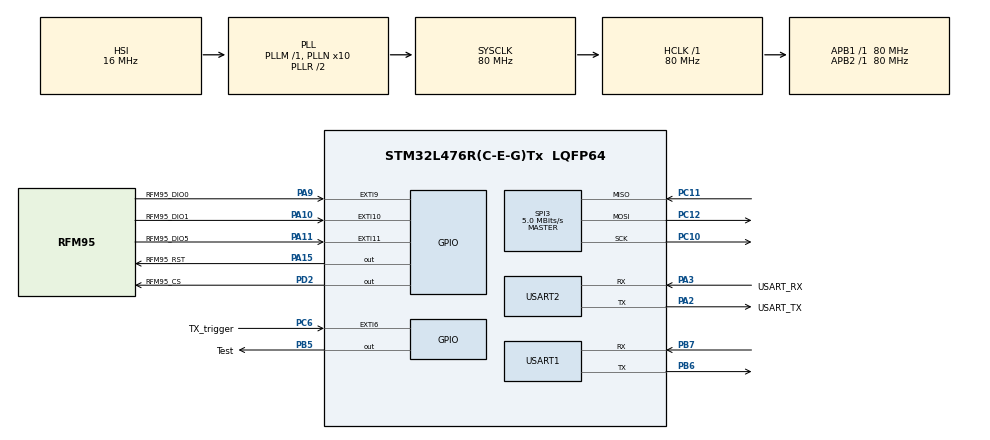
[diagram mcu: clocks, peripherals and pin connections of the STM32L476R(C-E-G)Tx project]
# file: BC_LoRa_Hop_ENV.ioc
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Mcu.Family=STM32L4
Mcu.Name=STM32L476R(C-E-G)Tx
Mcu.Package=LQFP64
NVIC.EXTI15_10_IRQn=true\:0\:0\:false\:false\:true\:true\:true\:true
NVIC.EXTI9_5_IRQn=true\:0\:0\:false\:false\:true\:true\:true\:true
NVIC.LPTIM1_IRQn=true\:0\:0\:false\:false\:true\:true\:true\:true
NVIC.PriorityGroup=NVIC_PRIORITYGROUP_4
NVIC.RTC_WKUP_IRQn=true\:0\:0\:false\:false\:true\:true\:true\:true
PA10.GPIO_Label=RFM95_DIO1
PA10.Signal=GPXTI10
PA11.GPIO_Label=RFM95_DIO5
PA11.Signal=GPXTI11
PA13\ (JTMS-SWDIO).GPIO_Label=TMS
PA13\ (JTMS-SWDIO).Mode=Serial_Wire
PA13\ (JTMS-SWDIO).Signal=SYS_JTMS-SWDIO
PA14\ (JTCK-SWCLK).GPIO_Label=TCK
PA14\ (JTCK-SWCLK).Mode=Serial_Wire
PA14\ (JTCK-SWCLK).Signal=SYS_JTCK-SWCLK
PA15\ (JTDI).GPIO_Label=RFM95_RST
PA15\ (JTDI).GPIO_ModeDefaultOutputPP=GPIO_MODE_OUTPUT_OD
PA15\ (JTDI).GPIO_PuPd=GPIO_NOPULL
PA15\ (JTDI).PinState=GPIO_PIN_SET
PA15\ (JTDI).Signal=GPIO_Output
PA2.GPIO_Label=USART_TX
PA2.GPIO_Mode=GPIO_MODE_AF_PP
PA2.GPIO_PuPd=GPIO_NOPULL
PA2.GPIO_Speed=GPIO_SPEED_FREQ_VERY_HIGH
PA2.Mode=Asynchronous
PA2.Signal=USART2_TX
PA3.GPIO_Label=USART_RX
PA3.GPIO_Mode=GPIO_MODE_AF_PP
PA3.GPIO_PuPd=GPIO_PULLDOWN
PA3.GPIO_Speed=GPIO_SPEED_FREQ_VERY_HIGH
PA3.Mode=Asynchronous
PA3.Signal=USART2_RX
PA9.GPIO_Label=RFM95_DIO0
PA9.Signal=GPXTI9
PB3\ (JTDO-TRACESWO).GPIO_Label=SWO
PB3\ (JTDO-TRACESWO).Signal=SYS_JTDO-SWO
PB5.GPIO_Label=Test
PB5.Signal=GPIO_Output
PB6.Mode=Asynchronous
PB6.Signal=USART1_TX
PB7.GPIO_PuPd=GPIO_PULLDOWN
PB7.Mode=Asynchronous
PB7.Signal=USART1_RX
PC10.Mode=Full_Duplex_Master
PC10.Signal=SPI3_SCK
PC11.GPIO_PuPd=GPIO_PULLUP
PC11.Mode=Full_Duplex_Master
PC11.Signal=SPI3_MISO
PC12.Mode=Full_Duplex_Master
PC12.Signal=SPI3_MOSI
PC14-OSC32_IN\ (PC14).Mode=LSE-External-Oscillator
PC14-OSC32_IN\ (PC14).Signal=RCC_OSC32_IN
PC15-OSC32_OUT\ (PC15).Mode=LSE-External-Oscillator
PC15-OSC32_OUT\ (PC15).Signal=RCC_OSC32_OUT
PC6.GPIO_Label=TX_trigger
PC6.GPIO_PuPd=GPIO_PULLDOWN
PC6.Signal=GPXTI6
PD2.GPIO_Label=RFM95_CS
PD2.GPIO_ModeDefaultOutputPP=GPIO_MODE_OUTPUT_PP
PD2.GPIO_PuPd=GPIO_PULLUP
PD2.GPIO_Speed=GPIO_SPEED_FREQ_MEDIUM
PD2.PinState=GPIO_PIN_SET
PD2.Signal=GPIO_Output
ProjectManager.HeapSize=0x200
ProjectManager.StackSize=0x400
ProjectManager.TargetToolchain=STM32CubeIDE
RCC.ADCFreq_Value=64000000
RCC.AHBFreq_Value=80000000
RCC.APB1Freq_Value=80000000
RCC.APB1TimFreq_Value=80000000
RCC.APB2Freq_Value=80000000
RCC.APB2TimFreq_Value=80000000
RCC.CK48CLockSelection=RCC_USBCLKSOURCE_PLL
RCC.CortexFreq_Value=80000000
RCC.HCLKFreq_Value=80000000
RCC.HSE_VALUE=8000000
RCC.HSI_VALUE=16000000
RCC.LPTIM1CLockSelection=RCC_LPTIM1CLKSOURCE_LSE
RCC.MSI_VALUE=4000000
RCC.PLLN=10
RCC.PLLQ=RCC_PLLQ_DIV8
RCC.PLLSourceVirtual=RCC_PLLSOURCE_HSI
RCC.PREFETCH_ENABLE=1
RCC.RTCClockSelection=RCC_RTCCLKSOURCE_LSE
RCC.SYSCLKFreq_VALUE=80000000
RCC.SYSCLKSource=RCC_SYSCLKSOURCE_PLLCLK
RCC.USBFreq_Value=20000000
RCC.VCOOutputFreq_Value=160000000
SPI3.BaudRatePrescaler=SPI_BAUDRATEPRESCALER_16
SPI3.CalculateBaudRate=5.0 MBits/s
SPI3.DataSize=SPI_DATASIZE_8BIT
SPI3.Direction=SPI_DIRECTION_2LINES
SPI3.Mode=SPI_MODE_MASTER
SPI3.VirtualType=VM_MASTER
USART1.VirtualMode-Asynchronous=VM_ASYNC
USART2.VirtualMode-Asynchronous=VM_ASYNC
VP_LPTIM1_VS_LPTIM_counterModeInternalClock.Mode=Counts__internal_clock_event_00
VP_RNG_VS_RNG.Mode=RNG_Activate
VP_RTC_VS_RTC_Activate.Mode=RTC_Enabled
VP_RTC_VS_RTC_Calendar.Mode=RTC_Calendar
VP_RTC_VS_RTC_WakeUp_intern.Mode=WakeUp
board=NUCLEO-L476RG

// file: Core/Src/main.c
/* USER CODE BEGIN Header */
/**
  ******************************************************************************
  * @file           : main.c
  * @brief          : Main program body
  ******************************************************************************
  * @attention
  *
  * Copyright (c) 2025 STMicroelectronics.
  * All rights reserved.
  *
  * This software is licensed under terms that can be found in the LICENSE file
  * in the root directory of this software component.
  * If no LICENSE file comes with this software, it is provided AS-IS.
  *
  ******************************************************************************
  */
/* USER CODE END Header */
#include "main.h"

/* USER CODE BEGIN Includes */
#include "stdio.h"
#include "string.h"
#include "lora.h"
/* USER CODE END Includes */

/* USER CODE BEGIN PTD */
// rfm95 handler
rfm95_handle_t rfm95_handle = {0};

/* Test TX BUFF */
uint8_t  tx_buff[LORA_PAYLOAD_MAX_SIZE];
uint8_t  tx_buff_len = 0;
uint16_t tx_pkt_id = 0;

/*
 * DECIDE ENV TEST NODE ID
 */
uint8_t this_node_id = 1;

// system handler
Sys_handler h_sys = {
    .evt_flags = SYS_EVT_NO_PENDING,
    .state     = SYS_RDY
};

/* USER CODE END PTD */

LPTIM_HandleTypeDef hlptim1;

RNG_HandleTypeDef hrng;

RTC_HandleTypeDef hrtc;

SPI_HandleTypeDef hspi3;

UART_HandleTypeDef huart1;
UART_HandleTypeDef huart2;

/* USER CODE BEGIN PV */
// ------------- LPTIM ----------------
volatile uint32_t lptim_tick_msb = 1;
uint32_t tx_evt_time = 0;

// --------- Variables used for simulation ---------
volatile bool tx_evt = false;
volatile bool tx_alarm_evt = false;

/* USER CODE END PV */

void SystemClock_Config(void);
static void MX_GPIO_Init(void);
static void MX_USART2_UART_Init(void);
static void MX_RTC_Init(void);
static void MX_SPI3_Init(void);
static void MX_LPTIM1_Init(void);
static void MX_RNG_Init(void);
static void MX_USART1_UART_Init(void);
/* USER CODE BEGIN PFP */
int _write(int file, char *ptr, int len);
void debug_pin_set();
void debug_pin_rst();

static bool     init_rfm();
static uint32_t get_precision_tick();
static void 		precision_sleep_until(uint32_t target_ticks);
static uint8_t	get_battery_level();
static void     rfm95_after_interrupts_configured();

uint8_t get_random_number(uint32_t *random_number, uint16_t timeout);
static uint16_t random_wait(uint16_t min, uint16_t max);
static void schedule_tx_evt(uint16_t min, uint16_t max);

void MySystemClock_Config(void);
void enterStopMode();

void build_pkt(uint16_t sync, uint8_t mask, uint8_t nodeID, uint16_t pktID, uint8_t* sensors, uint8_t sens_len,
		           int16_t rssi, uint8_t* bc_seq, uint8_t bc_seq_len, uint8_t* t_buff, uint8_t* t_buff_len);

/* USER CODE END PFP */

int main(void)
{

  /* MCU Configuration--------------------------------------------------------*/

  /* Reset of all peripherals, Initializes the Flash interface and the Systick. */
  HAL_Init();

  /* Configure the system clock */
  SystemClock_Config();

  /* Initialize all configured peripherals */
  MX_GPIO_Init();
  MX_USART2_UART_Init();
  MX_RTC_Init();
  MX_SPI3_Init();
  MX_LPTIM1_Init();
  MX_RNG_Init();
  MX_USART1_UART_Init();
  /* USER CODE BEGIN 2 */

  printf("start\r\n");

  // init RF in RX mode
  if (!init_rfm()) printf("Error during RFM initialization\r\n");

  schedule_tx_evt(29000, 31000);

  /* USER CODE END 2 */

  /* Infinite loop */
  /* USER CODE BEGIN WHILE */
  while (1){

  	/* STOP mode atomic block */
		HAL_SuspendTick();
		__disable_irq();

		if (!tx_alarm_evt && !tx_evt) {
			enterStopMode();
		}

		HAL_ResumeTick();
		__enable_irq();

    /* USER CODE END WHILE */

    /* USER CODE BEGIN 3 */

		/* ALARM EVENT */
  	if (tx_alarm_evt == true){
  		tx_alarm_evt = false;

  		uint8_t dummy_sens_payload[4] = {0xDE,0xAD,0xBE,0xEF};
			uint8_t dummy_bc_seq = 0;

			/* Prepare TX-ALARM buff here */
			uint8_t mask = (1 << ALARM_BIT_POS) | (0 << ACK_BIT_POS) | (0 << RETX_BIT_POS);
			build_pkt(SYNC_WORD_ENV, mask, this_node_id, tx_pkt_id, dummy_sens_payload, 4, 0, &dummy_bc_seq, 0, tx_buff, &tx_buff_len);
			tx_pkt_id++;

			/* TX payload here */
			if (!rfm95_send(&rfm95_handle, tx_buff, tx_buff_len)) printf("TX error");

  	} else if (tx_evt == true) { /* NORMAL TX EVENT */
  		tx_evt = false;

  		// deactivate timer here -> It will be recalculated after this TX
  		HAL_RTCEx_DeactivateWakeUpTimer(&hrtc);

  		uint8_t dummy_sens_payload[4] = {0xDE,0xAD,0xBE,0xEF};
  		uint8_t dummy_bc_seq = 0;

  		/* Prepare TX buff here */
  		build_pkt(SYNC_WORD_ENV, 0, this_node_id, tx_pkt_id, dummy_sens_payload, 4, 0, &dummy_bc_seq, 0, tx_buff, &tx_buff_len);
  		tx_pkt_id++;

  		/* TX payload here */
			if (!rfm95_send(&rfm95_handle, tx_buff, tx_buff_len)) printf("TX error");
			schedule_tx_evt(29000, 31000);

  	}

  } // End of While superloop
  /* USER CODE END 3 */
}

void SystemClock_Config(void)
{
  RCC_OscInitTypeDef RCC_OscInitStruct = {0};
  RCC_ClkInitTypeDef RCC_ClkInitStruct = {0};

  /** Configure the main internal regulator output voltage
  */
  if (HAL_PWREx_ControlVoltageScaling(PWR_REGULATOR_VOLTAGE_SCALE1) != HAL_OK)
  {
    Error_Handler();
  }

  /** Configure LSE Drive Capability
  */
  HAL_PWR_EnableBkUpAccess();
  __HAL_RCC_LSEDRIVE_CONFIG(RCC_LSEDRIVE_LOW);

  /** Initializes the RCC Oscillators according to the specified parameters
  * in the RCC_OscInitTypeDef structure.
  */
  RCC_OscInitStruct.OscillatorType = RCC_OSCILLATORTYPE_HSI|RCC_OSCILLATORTYPE_LSE;
  RCC_OscInitStruct.LSEState = RCC_LSE_ON;
  RCC_OscInitStruct.HSIState = RCC_HSI_ON;
  RCC_OscInitStruct.HSICalibrationValue = RCC_HSICALIBRATION_DEFAULT;
  RCC_OscInitStruct.PLL.PLLState = RCC_PLL_ON;
  RCC_OscInitStruct.PLL.PLLSource = RCC_PLLSOURCE_HSI;
  RCC_OscInitStruct.PLL.PLLM = 1;
  RCC_OscInitStruct.PLL.PLLN = 10;
  RCC_OscInitStruct.PLL.PLLP = RCC_PLLP_DIV7;
  RCC_OscInitStruct.PLL.PLLQ = RCC_PLLQ_DIV8;
  RCC_OscInitStruct.PLL.PLLR = RCC_PLLR_DIV2;
  if (HAL_RCC_OscConfig(&RCC_OscInitStruct) != HAL_OK)
  {
    Error_Handler();
  }

  /** Initializes the CPU, AHB and APB buses clocks
  */
  RCC_ClkInitStruct.ClockType = RCC_CLOCKTYPE_HCLK|RCC_CLOCKTYPE_SYSCLK
                              |RCC_CLOCKTYPE_PCLK1|RCC_CLOCKTYPE_PCLK2;
  RCC_ClkInitStruct.SYSCLKSource = RCC_SYSCLKSOURCE_PLLCLK;
  RCC_ClkInitStruct.AHBCLKDivider = RCC_SYSCLK_DIV1;
  RCC_ClkInitStruct.APB1CLKDivider = RCC_HCLK_DIV1;
  RCC_ClkInitStruct.APB2CLKDivider = RCC_HCLK_DIV1;

  if (HAL_RCC_ClockConfig(&RCC_ClkInitStruct, FLASH_LATENCY_4) != HAL_OK)
  {
    Error_Handler();
  }
}

static void MX_LPTIM1_Init(void)
{

  hlptim1.Instance = LPTIM1;
  hlptim1.Init.Clock.Source = LPTIM_CLOCKSOURCE_APBCLOCK_LPOSC;
  hlptim1.Init.Clock.Prescaler = LPTIM_PRESCALER_DIV1;
  hlptim1.Init.Trigger.Source = LPTIM_TRIGSOURCE_SOFTWARE;
  hlptim1.Init.OutputPolarity = LPTIM_OUTPUTPOLARITY_HIGH;
  hlptim1.Init.UpdateMode = LPTIM_UPDATE_IMMEDIATE;
  hlptim1.Init.CounterSource = LPTIM_COUNTERSOURCE_INTERNAL;
  hlptim1.Init.Input1Source = LPTIM_INPUT1SOURCE_GPIO;
  hlptim1.Init.Input2Source = LPTIM_INPUT2SOURCE_GPIO;
  if (HAL_LPTIM_Init(&hlptim1) != HAL_OK)
  {
    Error_Handler();
  }

}

static void MX_RNG_Init(void)
{

  hrng.Instance = RNG;
  if (HAL_RNG_Init(&hrng) != HAL_OK)
  {
    Error_Handler();
  }

}

static void MX_RTC_Init(void)
{

  RTC_TimeTypeDef sTime = {0};
  RTC_DateTypeDef sDate = {0};

  /** Initialize RTC Only
  */
  hrtc.Instance = RTC;
  hrtc.Init.HourFormat = RTC_HOURFORMAT_24;
  hrtc.Init.AsynchPrediv = 127;
  hrtc.Init.SynchPrediv = 255;
  hrtc.Init.OutPut = RTC_OUTPUT_DISABLE;
  hrtc.Init.OutPutRemap = RTC_OUTPUT_REMAP_NONE;
  hrtc.Init.OutPutPolarity = RTC_OUTPUT_POLARITY_HIGH;
  hrtc.Init.OutPutType = RTC_OUTPUT_TYPE_OPENDRAIN;
  if (HAL_RTC_Init(&hrtc) != HAL_OK)
  {
    Error_Handler();
  }

  /** Initialize RTC and set the Time and Date
  */
  sTime.Hours = 0x0;
  sTime.Minutes = 0x0;
  sTime.Seconds = 0x0;
  sTime.DayLightSaving = RTC_DAYLIGHTSAVING_NONE;
  sTime.StoreOperation = RTC_STOREOPERATION_RESET;
  if (HAL_RTC_SetTime(&hrtc, &sTime, RTC_FORMAT_BCD) != HAL_OK)
  {
    Error_Handler();
  }
  sDate.WeekDay = RTC_WEEKDAY_MONDAY;
  sDate.Month = RTC_MONTH_JANUARY;
  sDate.Date = 0x1;
  sDate.Year = 0x0;

  if (HAL_RTC_SetDate(&hrtc, &sDate, RTC_FORMAT_BCD) != HAL_OK)
  {
    Error_Handler();
  }
  /* USER CODE BEGIN RTC_Init 2 */

  // make sure RTC wkup is not running:
  HAL_RTCEx_DeactivateWakeUpTimer(&hrtc);

  /* USER CODE END RTC_Init 2 */

}

static void MX_SPI3_Init(void)
{

  /* SPI3 parameter configuration*/
  hspi3.Instance = SPI3;
  hspi3.Init.Mode = SPI_MODE_MASTER;
  hspi3.Init.Direction = SPI_DIRECTION_2LINES;
  hspi3.Init.DataSize = SPI_DATASIZE_8BIT;
  hspi3.Init.CLKPolarity = SPI_POLARITY_LOW;
  hspi3.Init.CLKPhase = SPI_PHASE_1EDGE;
  hspi3.Init.NSS = SPI_NSS_SOFT;
  hspi3.Init.BaudRatePrescaler = SPI_BAUDRATEPRESCALER_16;
  hspi3.Init.FirstBit = SPI_FIRSTBIT_MSB;
  hspi3.Init.TIMode = SPI_TIMODE_DISABLE;
  hspi3.Init.CRCCalculation = SPI_CRCCALCULATION_DISABLE;
  hspi3.Init.CRCPolynomial = 7;
  hspi3.Init.CRCLength = SPI_CRC_LENGTH_DATASIZE;
  hspi3.Init.NSSPMode = SPI_NSS_PULSE_ENABLE;
  if (HAL_SPI_Init(&hspi3) != HAL_OK)
  {
    Error_Handler();
  }
  /* USER CODE BEGIN SPI3_Init 2 */
  /*
   * This dummy sequence sets clock LOW when idle, MOSI and MISO to a definite state (either HIGH or LOW)
   */
   uint8_t dummy = 0xFF;
   HAL_SPI_Transmit(&hspi3, &dummy, 1, 10);

  /* USER CODE END SPI3_Init 2 */

}

static void MX_USART1_UART_Init(void)
{

  huart1.Instance = USART1;
  huart1.Init.BaudRate = 115200;
  huart1.Init.WordLength = UART_WORDLENGTH_8B;
  huart1.Init.StopBits = UART_STOPBITS_1;
  huart1.Init.Parity = UART_PARITY_NONE;
  huart1.Init.Mode = UART_MODE_TX_RX;
  huart1.Init.HwFlowCtl = UART_HWCONTROL_NONE;
  huart1.Init.OverSampling = UART_OVERSAMPLING_16;
  huart1.Init.OneBitSampling = UART_ONE_BIT_SAMPLE_DISABLE;
  huart1.AdvancedInit.AdvFeatureInit = UART_ADVFEATURE_NO_INIT;
  if (HAL_UART_Init(&huart1) != HAL_OK)
  {
    Error_Handler();
  }

}

static void MX_USART2_UART_Init(void)
{

  huart2.Instance = USART2;
  huart2.Init.BaudRate = 115200;
  huart2.Init.WordLength = UART_WORDLENGTH_8B;
  huart2.Init.StopBits = UART_STOPBITS_1;
  huart2.Init.Parity = UART_PARITY_NONE;
  huart2.Init.Mode = UART_MODE_TX_RX;
  huart2.Init.HwFlowCtl = UART_HWCONTROL_NONE;
  huart2.Init.OverSampling = UART_OVERSAMPLING_16;
  huart2.Init.OneBitSampling = UART_ONE_BIT_SAMPLE_DISABLE;
  huart2.AdvancedInit.AdvFeatureInit = UART_ADVFEATURE_NO_INIT;
  if (HAL_UART_Init(&huart2) != HAL_OK)
  {
    Error_Handler();
  }

}

static void MX_GPIO_Init(void)
{
  GPIO_InitTypeDef GPIO_InitStruct = {0};

  /* GPIO Ports Clock Enable */
  __HAL_RCC_GPIOC_CLK_ENABLE();
  __HAL_RCC_GPIOH_CLK_ENABLE();
  __HAL_RCC_GPIOA_CLK_ENABLE();
  __HAL_RCC_GPIOB_CLK_ENABLE();
  __HAL_RCC_GPIOD_CLK_ENABLE();

  /*Configure GPIO pin Output Level */
  HAL_GPIO_WritePin(RFM95_RST_GPIO_Port, RFM95_RST_Pin, GPIO_PIN_SET);

  /*Configure GPIO pin Output Level */
  HAL_GPIO_WritePin(RFM95_CS_GPIO_Port, RFM95_CS_Pin, GPIO_PIN_SET);

  /*Configure GPIO pin Output Level */
  HAL_GPIO_WritePin(Test_GPIO_Port, Test_Pin, GPIO_PIN_RESET);

  /*Configure GPIO pins : PC13 PC0 PC1 PC2
                           PC3 PC4 PC5 PC7
                           PC8 PC9 */
  GPIO_InitStruct.Pin = GPIO_PIN_13|GPIO_PIN_0|GPIO_PIN_1|GPIO_PIN_2
                          |GPIO_PIN_3|GPIO_PIN_4|GPIO_PIN_5|GPIO_PIN_7
                          |GPIO_PIN_8|GPIO_PIN_9;
  GPIO_InitStruct.Mode = GPIO_MODE_ANALOG;
  GPIO_InitStruct.Pull = GPIO_NOPULL;
  HAL_GPIO_Init(GPIOC, &GPIO_InitStruct);

  /*Configure GPIO pins : PH0 PH1 */
  GPIO_InitStruct.Pin = GPIO_PIN_0|GPIO_PIN_1;
  GPIO_InitStruct.Mode = GPIO_MODE_ANALOG;
  GPIO_InitStruct.Pull = GPIO_NOPULL;
  HAL_GPIO_Init(GPIOH, &GPIO_InitStruct);

  /*Configure GPIO pins : PA0 PA1 PA4 PA5
                           PA6 PA7 PA8 PA12 */
  GPIO_InitStruct.Pin = GPIO_PIN_0|GPIO_PIN_1|GPIO_PIN_4|GPIO_PIN_5
                          |GPIO_PIN_6|GPIO_PIN_7|GPIO_PIN_8|GPIO_PIN_12;
  GPIO_InitStruct.Mode = GPIO_MODE_ANALOG;
  GPIO_InitStruct.Pull = GPIO_NOPULL;
  HAL_GPIO_Init(GPIOA, &GPIO_InitStruct);

  /*Configure GPIO pins : PB0 PB1 PB2 PB10
                           PB11 PB12 PB13 PB14
                           PB15 PB4 PB8 PB9 */
  GPIO_InitStruct.Pin = GPIO_PIN_0|GPIO_PIN_1|GPIO_PIN_2|GPIO_PIN_10
                          |GPIO_PIN_11|GPIO_PIN_12|GPIO_PIN_13|GPIO_PIN_14
                          |GPIO_PIN_15|GPIO_PIN_4|GPIO_PIN_8|GPIO_PIN_9;
  GPIO_InitStruct.Mode = GPIO_MODE_ANALOG;
  GPIO_InitStruct.Pull = GPIO_NOPULL;
  HAL_GPIO_Init(GPIOB, &GPIO_InitStruct);

  /*Configure GPIO pin : TX_trigger_Pin */
  GPIO_InitStruct.Pin = TX_trigger_Pin;
  GPIO_InitStruct.Mode = GPIO_MODE_IT_RISING;
  GPIO_InitStruct.Pull = GPIO_PULLDOWN;
  HAL_GPIO_Init(TX_trigger_GPIO_Port, &GPIO_InitStruct);

  /*Configure GPIO pins : RFM95_DIO0_Pin RFM95_DIO1_Pin RFM95_DIO5_Pin */
  GPIO_InitStruct.Pin = RFM95_DIO0_Pin|RFM95_DIO1_Pin|RFM95_DIO5_Pin;
  GPIO_InitStruct.Mode = GPIO_MODE_IT_RISING;
  GPIO_InitStruct.Pull = GPIO_NOPULL;
  HAL_GPIO_Init(GPIOA, &GPIO_InitStruct);

  /*Configure GPIO pin : RFM95_RST_Pin */
  GPIO_InitStruct.Pin = RFM95_RST_Pin;
  GPIO_InitStruct.Mode = GPIO_MODE_OUTPUT_OD;
  GPIO_InitStruct.Pull = GPIO_NOPULL;
  GPIO_InitStruct.Speed = GPIO_SPEED_FREQ_LOW;
  HAL_GPIO_Init(RFM95_RST_GPIO_Port, &GPIO_InitStruct);

  /*Configure GPIO pin : RFM95_CS_Pin */
  GPIO_InitStruct.Pin = RFM95_CS_Pin;
  GPIO_InitStruct.Mode = GPIO_MODE_OUTPUT_PP;
  GPIO_InitStruct.Pull = GPIO_PULLUP;
  GPIO_InitStruct.Speed = GPIO_SPEED_FREQ_MEDIUM;
  HAL_GPIO_Init(RFM95_CS_GPIO_Port, &GPIO_InitStruct);

  /*Configure GPIO pin : Test_Pin */
  GPIO_InitStruct.Pin = Test_Pin;
  GPIO_InitStruct.Mode = GPIO_MODE_OUTPUT_PP;
  GPIO_InitStruct.Pull = GPIO_NOPULL;
  GPIO_InitStruct.Speed = GPIO_SPEED_FREQ_LOW;
  HAL_GPIO_Init(Test_GPIO_Port, &GPIO_InitStruct);

  /* EXTI interrupt init*/
  HAL_NVIC_SetPriority(EXTI9_5_IRQn, 0, 0);
  HAL_NVIC_EnableIRQ(EXTI9_5_IRQn);

//  HAL_NVIC_SetPriority(EXTI15_10_IRQn, 0, 0);
//  HAL_NVIC_EnableIRQ(EXTI15_10_IRQn);

}

/* USER CODE BEGIN 4 */

// -------------- RFM95 user defined functions -------------------

/*
 *
 */
bool init_rfm(){

  // Start lptim timer
  HAL_LPTIM_Counter_Start_IT(&hlptim1, 0xFFFF);

  // config RFM95
  rfm95_handle.rfm_timer  = &hlptim1;
  rfm95_handle.spi_handle = &hspi3;
  rfm95_handle.nrst_port  = RFM95_RST_GPIO_Port;
  rfm95_handle.nrst_pin   = RFM95_RST_Pin;
  rfm95_handle.nss_port   = RFM95_CS_GPIO_Port;
  rfm95_handle.nss_pin    = RFM95_CS_Pin;

  rfm95_handle.precision_tick_frequency = LSE_CLK;
  rfm95_handle.precision_tick_drift_ns_per_s = 20000;
  rfm95_handle.get_precision_tick = get_precision_tick;
  rfm95_handle.precision_sleep_until = precision_sleep_until;
  rfm95_handle.on_after_interrupts_configured = rfm95_after_interrupts_configured;
  //rfm95_handle.random_int = random_int;
  rfm95_handle.get_battery_level = get_battery_level;

  // Modify parameters here:
  rfm95_set_power(&rfm95_handle, LORA_TX_POWER); // power 2 dBm - 17 dBm
  rfm95_set_frequency(&rfm95_handle, LORA_CH_FREQ);
  rfm95_set_BW(&rfm95_handle, LORA_BW);
  rfm95_set_CR(&rfm95_handle, LORA_CR);
  rfm95_set_SF(&rfm95_handle, LORA_SF);
  rfm95_set_syncWord(&rfm95_handle, LORA_SYNC_WORD);

  // initialize RFM95
  if(!rfm95_init(&rfm95_handle)) return false;

  return true;
}

/*
 * return precise timing based on internal LPTIM module
 */
static uint32_t get_precision_tick(){
	__disable_irq();
	uint32_t precision_tick = lptim_tick_msb | HAL_LPTIM_ReadCounter(&hlptim1);
	__enable_irq();
	return precision_tick;
}

/*
 * Allows to set the MCU into STOP2 mode with accurate wkup timer
 */
static void precision_sleep_until(uint32_t target_ticks){
	while(1){
		uint32_t curr_tick = get_precision_tick();

		// exit condition:
		if(target_ticks < curr_tick) break;

		uint32_t sleep_ticks = target_ticks - curr_tick;

		// avoid short sleep intervals:
		if(sleep_ticks < 10) break;
		else {
			// overall CMP value - some margin (needed to reset clock configurations after stop mode2)
			uint32_t compare_tick = (curr_tick & 0xFFFF) + sleep_ticks - 10;

			if (compare_tick >= 0xFFFF){ // ARR will awake MCU before compare
				HAL_SuspendTick();
				enterStopMode();
			} else { // otherwise CMP keeps MCU sleep all time
				__HAL_LPTIM_CLEAR_FLAG(&hlptim1, LPTIM_FLAG_CMPOK);
				__HAL_LPTIM_COMPARE_SET(&hlptim1, compare_tick);            // set CMP limit

				while (!__HAL_LPTIM_GET_FLAG(&hlptim1, LPTIM_FLAG_CMPOK));  // wait for effective change

				__HAL_LPTIM_CLEAR_FLAG(&hlptim1, LPTIM_FLAG_CMPM);          // clear CMP interrupt flag
				__HAL_LPTIM_ENABLE_IT(&hlptim1, LPTIM_IT_CMPM);             // enable CMP interrupt

				HAL_SuspendTick();
				enterStopMode();

				__HAL_LPTIM_DISABLE_IT(&hlptim1, LPTIM_IT_CMPM);            // disable CMP interrupt
			}
		}
	}

	while(get_precision_tick() < target_ticks);                       // wait residue time here ( < 10 ticks)
}

static uint8_t get_battery_level(){
	return 0;
}

/*
 * This function is executed after initializing rfm95 (ready to accept interrupts
 * without hard fault errors)
 */
void rfm95_after_interrupts_configured(){
  HAL_NVIC_SetPriority(EXTI15_10_IRQn, 0, 0);
  HAL_NVIC_EnableIRQ(EXTI15_10_IRQn);
}

/* Get random number from internal RNG.
 * This function automatically manages activation/de-activation of RNG module to save power
 *
 * return values:
 * - 0 = no errors
 * - 1 = timeout
 * - 2 = seed error  -> RNG must be reinitialized (random number must be discarded)
 * - 3 = Clock error -> ensure rng_clk >= ahb_clk/16 (>= 5 MHz)
 */
uint8_t get_random_number(uint32_t *random_number, uint16_t timeout){

  // enable RNG peripheral:
  __HAL_RNG_ENABLE(&hrng);

  // clear clock error and seed error interrupt flags:
  __HAL_RNG_CLEAR_IT(&hrng, RNG_IT_CEI);
  __HAL_RNG_CLEAR_IT(&hrng, RNG_IT_SEI);

  // wait for data ready bit to be set:
  uint32_t start = HAL_GetTick();
  while(!__HAL_RNG_GET_FLAG(&hrng, RNG_FLAG_DRDY)){
    if (HAL_GetTick() - start > timeout) {
      __HAL_RNG_DISABLE(&hrng);
      return 1;
    }
  }

  // RNG can be switched off here:
  __HAL_RNG_DISABLE(&hrng);

  // check seed error:
  if(__HAL_RNG_GET_IT(&hrng, RNG_IT_SEI)) return 2;

  // check clock error:
  if(__HAL_RNG_GET_IT(&hrng, RNG_IT_CEI)) return 3;

  *random_number = hrng.Instance->DR;

  // check event seed error occurred while loading data:
  if(*random_number == 0) return 2;

  return 0;
}

/* Generate random number in range [min, max] expressed in
 * milliseconds
 *
 * If min > max, or max == 0, the random wait is skipped,
 * and 0 is returned as default.
 *
 * @param uint16_t  max represents maximum time (in ms)
 * @param uint16_t  min represents minimum time (in ms)
 *
 * @return uint16_t in range [min, max]
 */
static uint16_t random_wait(uint16_t min, uint16_t max){
  if ((min >= max) || (max == 0)) return 0;

  uint32_t num;
  uint8_t rng_err = get_random_number(&num, 1);

  if (rng_err){
    // TODO handle potential rng seed error/clock error here...

    num = 0;
  }

  uint16_t range = max - min + 1;
  return (uint16_t)(min + (num % range));
}

/* Setup the RTC wake-up counter to generate an interrupt event
 * used to schedule the next transmission within a time window
 * raging from [min, max] milliseconds.
 *  -> If the computed time is smaller than 5 ms the RTC event is skipped and
 *     the transmission EVT flag (SYS_EVT_TX_PENDING) is immediately set.
 *  -> If a WKUP timer is already running, the shortest between remaining time and
 *     the new computed time is kept
 *
 * SET MIN = MAX = 0 to skip the wait time and immediately schedule a new transmission
 * event.
 *
 * @param uint16_t  max represents maximum time (in ms) for the random wait
 * @param uint16_t  min represents minimum time (in ms) for the random wait
 *
 * @return uint16_t in range [min, max]
 */
static void schedule_tx_evt(uint16_t min, uint16_t max){
  RTC_TimeTypeDef sTime;
  RTC_DateTypeDef sDate;

  // get random time between [min, max] (in milliseconds)
  uint16_t t_rand = random_wait(min, max);

  if (t_rand <= 5) {
    /*
     * if less than 5 ms (10 RTC ticks) are computed, skip the timer
     * and directly set a TX event
     */
    HAL_RTCEx_DeactivateWakeUpTimer(&hrtc);

    h_sys.evt_flags |= SYS_EVT_TX_PENDING;
    return;
  }

  HAL_RTC_GetTime(&hrtc, &sTime, RTC_FORMAT_BIN);
  HAL_RTC_GetDate(&hrtc, &sDate, RTC_FORMAT_BIN);  // latch time

  // new EVT time in milliseconds
  uint32_t now_seconds = sTime.Hours * 3600 + sTime.Minutes * 60 + sTime.Seconds;
  uint16_t milliseconds = (uint16_t)(((sTime.SecondFraction - sTime.SubSeconds) * 1000U) / (sTime.SecondFraction + 1));
  uint32_t new_evt_time = now_seconds*1000 + milliseconds + t_rand;

  if (RTC->CR & RTC_CR_WUTE) { /* RTC WKUP already running */

    // If running timer is close to trigger -> wait for it
    if (tx_evt_time <= new_evt_time + 10) return;

    // otherwise block previous timer and start a new one with shorter WKUP CNT
    HAL_RTCEx_DeactivateWakeUpTimer(&hrtc);

  }

  tx_evt_time = new_evt_time;

  // compute corresponding RTC corresponding number of ticks
  uint32_t wakeUpCounter = (uint32_t) ((t_rand * LSE_CLK / 16u)/(1000u));

  HAL_RTCEx_SetWakeUpTimer_IT(&hrtc, wakeUpCounter, RTC_WAKEUPCLOCK_RTCCLK_DIV16);
}

// --------------------------------------------------------------------------------------

// -------------------------- System Power down routines --------------------------------

/*
 * Enter stop mode and resume clock configurations on exit
 */
void enterStopMode(){

  // Stop LPTIM and clear pending bits
  HAL_LPTIM_Counter_Stop_IT(&hlptim1);
  LPTIM1->ICR |= 0x3F;

  // CLear LPTIM IRQ at NVIC level
  NVIC_ClearPendingIRQ(LPTIM1_IRQn);

  // wake from HSI --> faster wake up sequence:
	__HAL_RCC_WAKEUPSTOP_CLK_CONFIG(RCC_STOP_WAKEUPCLOCK_HSI);

	// Enter stop mode 2:
	HAL_PWREx_EnterSTOP2Mode(PWR_STOPENTRY_WFI);

	// awake here...

	// resume system clock:
	if(READ_BIT(RCC->CR, RCC_CR_PLLRDY) == 0U) MySystemClock_Config();

	// resume system tick with correct clock
	//HAL_ResumeTick();

	// Enable LPTIM again:
	HAL_LPTIM_Counter_Start_IT(&hlptim1, 0xFFFF);
}

/*
 * Modified clock setup function:
 * -> Avoid repeating initialization for the LSE 32 kHz clock if already running.
 *    Doing this every time the MCU exits STOP mode, results in a corrupted timing accuracy.
 */
void MySystemClock_Config(void) {
  RCC_OscInitTypeDef RCC_OscInitStruct = {0};
  RCC_ClkInitTypeDef RCC_ClkInitStruct = {0};

  /** Configure the main internal regulator output voltage
  */
  if (HAL_PWREx_ControlVoltageScaling(PWR_REGULATOR_VOLTAGE_SCALE1) != HAL_OK)
  {
    Error_Handler();
  }

  /** Configure LSE Drive Capability only if it
  */
  if ((HAL_IS_BIT_SET(RCC->BDCR, RCC_BDCR_LSEON) == 0) || (HAL_IS_BIT_SET(RCC->BDCR, RCC_BDCR_LSERDY)) != 1){
  	HAL_PWR_EnableBkUpAccess();
		__HAL_RCC_LSEDRIVE_CONFIG(RCC_LSEDRIVE_LOW);

		RCC_OscInitStruct.OscillatorType = RCC_OSCILLATORTYPE_LSE;
  }

  /** Initializes the RCC Oscillators according to the specified parameters
  * in the RCC_OscInitTypeDef structure.
  */
  RCC_OscInitStruct.OscillatorType |= RCC_OSCILLATORTYPE_HSI;
  RCC_OscInitStruct.LSEState = RCC_LSE_ON;
  RCC_OscInitStruct.HSIState = RCC_HSI_ON;
  RCC_OscInitStruct.HSICalibrationValue = RCC_HSICALIBRATION_DEFAULT;
  RCC_OscInitStruct.PLL.PLLState = RCC_PLL_ON;
  RCC_OscInitStruct.PLL.PLLSource = RCC_PLLSOURCE_HSI;
  RCC_OscInitStruct.PLL.PLLM = 1;
  RCC_OscInitStruct.PLL.PLLN = 10;
  RCC_OscInitStruct.PLL.PLLP = RCC_PLLP_DIV7;
  RCC_OscInitStruct.PLL.PLLQ = RCC_PLLQ_DIV8;
  RCC_OscInitStruct.PLL.PLLR = RCC_PLLR_DIV2;
  if (HAL_RCC_OscConfig(&RCC_OscInitStruct) != HAL_OK)
  {
    Error_Handler();
  }

  /** Initializes the CPU, AHB and APB buses clocks
  */
  RCC_ClkInitStruct.ClockType = RCC_CLOCKTYPE_HCLK|RCC_CLOCKTYPE_SYSCLK
                              |RCC_CLOCKTYPE_PCLK1|RCC_CLOCKTYPE_PCLK2;
  RCC_ClkInitStruct.SYSCLKSource = RCC_SYSCLKSOURCE_PLLCLK;
  RCC_ClkInitStruct.AHBCLKDivider = RCC_SYSCLK_DIV1;
  RCC_ClkInitStruct.APB1CLKDivider = RCC_HCLK_DIV1;
  RCC_ClkInitStruct.APB2CLKDivider = RCC_HCLK_DIV1;

  if (HAL_RCC_ClockConfig(&RCC_ClkInitStruct, FLASH_LATENCY_4) != HAL_OK)
  {
    Error_Handler();
  }
}

// --------------------------------------------------------------------------------------

// ------------------------------------- Call-backs --------------------------------------

// Auto-reload callback for LPTIM module
void HAL_LPTIM_AutoReloadMatchCallback(LPTIM_HandleTypeDef *hlptim){
  lptim_tick_msb += 0x10000;
}

// Compare match callback for LPTIM module
void HAL_LPTIM_CompareMatchCallback(LPTIM_HandleTypeDef *hlptim){
  // do nothing...
}

// RTC wkup timer -> needed to schedule tx events
void HAL_RTCEx_WakeUpTimerEventCallback(RTC_HandleTypeDef *hrtc){
  tx_evt = true;
}

// GPIO external interrupts callback
void HAL_GPIO_EXTI_Callback(uint16_t GPIO_Pin){

	// Events on RFM95 interrupt pins
  if (GPIO_Pin == RFM95_DIO0_Pin) {
    rfm95_on_interrupt(&rfm95_handle, RFM95_INTERRUPT_DIO0);

    // something received
    if(rfm95_handle.rfm_status == RXCONTIN_MODE) h_sys.evt_flags |= SYS_EVT_RX_PENDING;

  } else if (GPIO_Pin == RFM95_DIO1_Pin) {
    rfm95_on_interrupt(&rfm95_handle, RFM95_INTERRUPT_DIO1);
  } else if (GPIO_Pin == RFM95_DIO5_Pin) {
    rfm95_on_interrupt(&rfm95_handle, RFM95_INTERRUPT_DIO5);
  } else if (GPIO_Pin == TX_trigger_Pin) {
  	tx_alarm_evt = true;
  }
}

// ----------------------------------------------------------------------------------------

// --------------------------------- DEBUG FUNCTIONS --------------------------------------

void build_pkt(uint16_t sync, uint8_t mask, uint8_t nodeID, uint16_t pktID, uint8_t* sensors, uint8_t sens_len,
		           int16_t rssi, uint8_t* bc_seq, uint8_t bc_seq_len, uint8_t* t_buff, uint8_t* t_buff_len){

	t_buff[SYNC_WORD_POS]   = (uint8_t)((sync >> 8) & 0xFF);
	t_buff[SYNC_WORD_POS+1] = (uint8_t)( sync & 0xFF);
	t_buff[MASK_POS]        = mask;
	t_buff[NODE_ID_POS]     = nodeID;
	t_buff[PKT_ID_MSB_POS]  = (uint8_t)((pktID >> 8) & 0xFF);
	t_buff[PKT_ID_LSB_POS]  = (uint8_t)(pktID & 0xFF);

	memcpy(&t_buff[SMPL_DATA_POS],sensors, sens_len);

	*t_buff_len = ENV_NODE_PYL_SIZE;

	if(bc_seq_len != 0){

		t_buff[RSSI_POS]        = (uint8_t)((rssi >> 8) & 0xFF);
		t_buff[RSSI_POS+1]      = (uint8_t)(rssi & 0xFF);

		memcpy(&t_buff[BC_ID1_POS],bc_seq,bc_seq_len);

		*t_buff_len += (RSSI_BYTES + bc_seq_len);

	}

}

/*
 * Function used to print on UART serial (DEBUG)
 */
int _write(int file, char *ptr, int len) {
  HAL_UART_Transmit(&huart2, (uint8_t *)ptr, len, HAL_MAX_DELAY);
  return len;
}

/*
 * Use these two functions to SET/RESET the debug pin.
 * This allows to measure precise timing with an external DSO/Meter.
 *
 * example:
 *
 *  debug_pin_set();
 *  target_function();
 *  debug_pin_reset();
 *
 * allows to measure time execution of the target_function().
 */
void debug_pin_set(){
  HAL_GPIO_WritePin(Test_GPIO_Port, Test_Pin, GPIO_PIN_SET);
}

void debug_pin_rst(){
  HAL_GPIO_WritePin(Test_GPIO_Port, Test_Pin, GPIO_PIN_RESET);
}

// -----------------------------------------------------------------------------------------

/* USER CODE END 4 */

void Error_Handler(void)
{
  __disable_irq();
  while (1)
  {
  }
}
